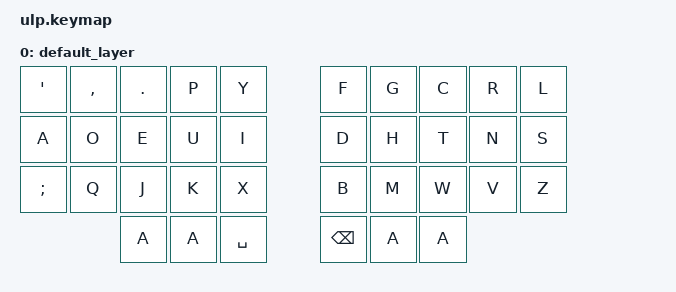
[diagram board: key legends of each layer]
#include <behaviors.dtsi>
#include <dt-bindings/zmk/keys.h>
#include <dt-bindings/zmk/bt.h>

/ {
    keymap {
        compatible = "zmk,keymap";

        default_layer {
            bindings = <
                &kp SQT &kp COMMA &kp DOT &kp P &kp Y    &kp F &kp G &kp C &kp R   &kp L
                &kp A &kp O &kp E &kp U &kp I    &kp D &kp H &kp T &kp N   &kp S
                &kp SEMI &kp Q &kp J &kp K &kp X    &kp B &kp M &kp W &kp V &kp Z
                            &kp A &kp A &kp SPACE    &kp BSPC &kp A &kp A   
            >;
        };
    };
};
